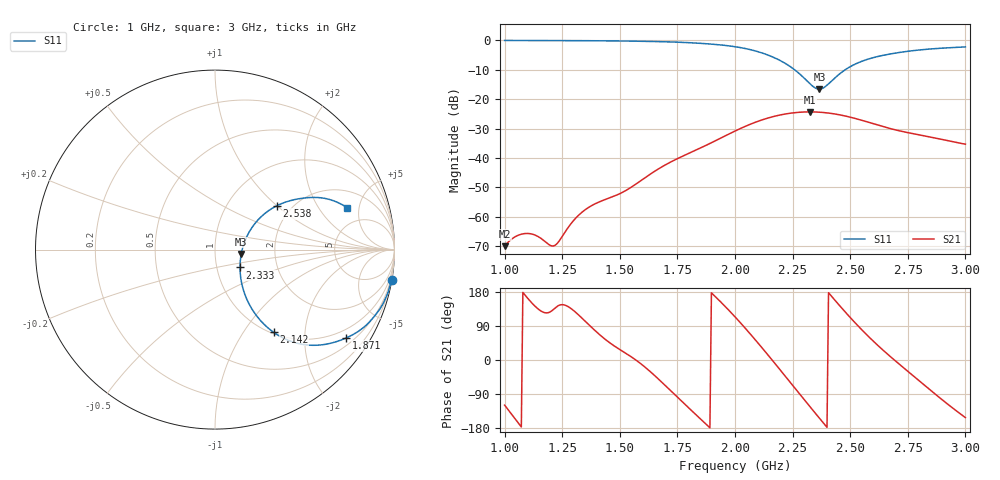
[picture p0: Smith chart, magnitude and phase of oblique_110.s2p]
! TOUCHSTONE file generated by CST MICROWAVE STUDIO
! Date and time: Tue Mar 18 00:01:54 2025
! Project name: oblique.cst
! Parameters = {Tilt=40; Fracture=1; B=10; D=160; F=5; Feed=2.85625; L=100; M=10; R=0.384908; S=1; Theta=180; length=57.125; wave=114.25}
! Header version: 2024
! Port assignment regex: !\s*Touchstone port\s*([0-9]+)\s*=\s*(CST MWS port|CST DES external port|CST DES block port)\s*(.+)\s* \(\"(.*)\"\)(\s*mode\s*([0-9]+))?.*
! Touchstone port assignment:
! Touchstone port 1 = CST MWS port 1 ("")
! Touchstone port 2 = CST MWS port 2 ("")
# GHz S DB R 50
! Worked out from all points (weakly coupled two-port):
!   304 points, 1 GHz to 3 GHz, reference 50 ohm
!   highest |S21| = -24.33 dB at 2.327 GHz (marker M1); lowest = -70.0 dB at 1 GHz (marker M2)
!   lowest |S11| = -16.6 dB at 2.366 GHz (marker M3), VSWR 1.35, Z = 67 - j3.36 ohm
!   |S11| at or under -10 dB: 2.259 GHz to 2.478 GHz (219.4 MHz wide, 9.26 % of centre)
!   S12 and S22 are empty: the file has one direction only
!   S11 on the Smith chart (normalised r, x): 1 GHz: 0, -12; 1.871 GHz: 0.71, -3.12; 2.142 GHz: 1.02, -1.39; 2.333 GHz: 1.29, -0.27; 2.538 GHz: 1.68, +1.00; 3 GHz: 3.25, +3.79
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1  -0.02 -9.8  -70.03 -119.1  -200.00 0.0  -200.00 0.0
1.0462  -0.02 -10.4  -66.81 -156.0  -200.00 0.0  -200.00 0.0
1.09241  -0.03 -11.1  -65.71 168.5  -200.00 0.0  -200.00 0.0
1.13201  -0.04 -11.6  -66.25 142.0  -200.00 0.0  -200.00 0.0
1.19802  -0.04 -12.7  -69.76 127.1  -200.00 0.0  -200.00 0.0
1.21782  -0.05 -13.0  -69.79 136.5  -200.00 0.0  -200.00 0.0
1.29043  -0.07 -14.4  -62.15 134.8  -200.00 0.0  -200.00 0.0
1.33663  -0.09 -15.3  -58.43 110.0  -200.00 0.0  -200.00 0.0
1.52145  -0.21 -19.8  -51.30 19.4  -200.00 0.0  -200.00 0.0
1.66667  -0.41 -24.4  -43.79 -49.7  -200.00 0.0  -200.00 0.0
1.87129  -1.11 -34.1  -35.83 -167.5  -200.00 0.0  -200.00 0.0
2.0033  -2.18 -43.2  -30.72 111.7  -200.00 0.0  -200.00 0.0
2.14191  -4.95 -54.6  -26.45 14.2  -200.00 0.0  -200.00 0.0
2.24092  -8.97 -57.9  -24.77 -59.8  -200.00 0.0  -200.00 0.0
2.32673  -14.86 -39.4  -24.33 -124.2  -200.00 0.0  -200.00 0.0
2.33333  -15.32 -35.6  -24.33 -129.1  -200.00 0.0  -200.00 0.0
2.33993  -15.75 -31.2  -24.34 -134.1  -200.00 0.0  -200.00 0.0
2.36634  -16.59 -9.5  -24.43 -153.6  -200.00 0.0  -200.00 0.0
2.45875  -11.11 34.0  -25.40 140.2  -200.00 0.0  -200.00 0.0
2.53795  -7.50 35.4  -26.92 87.5  -200.00 0.0  -200.00 0.0
2.66997  -4.67 29.6  -29.93 11.3  -200.00 0.0  -200.00 0.0
3  -2.22 17.6  -35.31 -152.0  -200.00 0.0  -200.00 0.0
